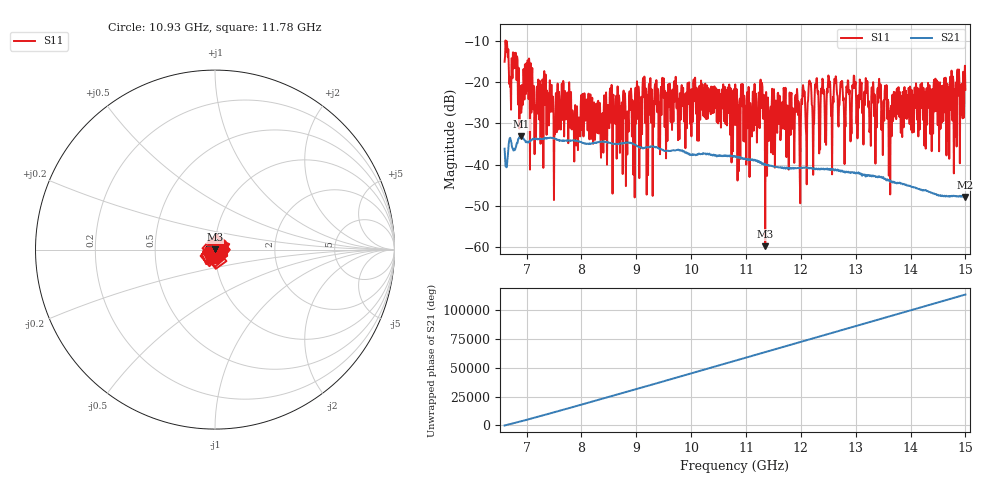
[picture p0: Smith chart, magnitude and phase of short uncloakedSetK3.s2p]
!Keysight Technologies,N5235B,MY61252044,A.15.00.15
!Date: Saturday, January 21, 2023 00:05:33
!Correction: S11(Off)
!S21(Off)
!S12(Off)
!S22(Off)
!S2P File: Measurements: S11, S21, S12, S22:
# Hz S  RI  R 50
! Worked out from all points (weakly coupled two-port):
!   1000 points, 6.6 GHz to 15 GHz, reference 50 ohm
!   highest |S21| = -33.17 dB at 6.903 GHz (marker M1); lowest = -47.9 dB at 14.99 GHz (marker M2)
!   lowest |S11| = -59.8 dB at 11.35 GHz (marker M3), VSWR 1.00, Z = 50 + j0.0982 ohm
!   |S11| at or under -10 dB: start of sweep to 6.616617 GHz; 6.617 GHz to end of sweep
!   S12 and S22 are empty: the file has one direction only
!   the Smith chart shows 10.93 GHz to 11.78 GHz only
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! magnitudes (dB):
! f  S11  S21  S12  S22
! 6.6 GHz  -15.1  -36.2  -  -
! 6.701 GHz  -21.2  -33.5  -  -
! 6.793 GHz  -16.6  -36.3  -  -
! 6.903 GHz  -27.4  -33.2  -  -
! 7.012 GHz  -22.0  -34.6  -  -
! 7.155 GHz  -25.7  -33.7  -  -
! 8.004 GHz  -28.2  -34.6  -  -
! 8.82 GHz  -27.2  -34.7  -  -
! 9.4 GHz  -23.1  -36.0  -  -
! 10.8 GHz  -20.6  -38.2  -  -
! 11.3 GHz  -21.2  -39.8  -  -
! 11.35 GHz  -59.8  -39.9  -  -
! 11.93 GHz  -21.7  -40.8  -  -
! 11.98 GHz  -43.2  -40.8  -  -
! 12.17 GHz  -20.5  -40.8  -  -
! 12.2 GHz  -25.5  -40.9  -  -
! 12.97 GHz  -18.5  -41.9  -  -
! 13.55 GHz  -24.2  -43.8  -  -
! 13.6 GHz  -42.7  -43.9  -  -
! 13.74 GHz  -29.0  -44.5  -  -
! 14.99 GHz  -16.0  -47.9  -  -
! 15 GHz  -21.9  -47.8  -  -
